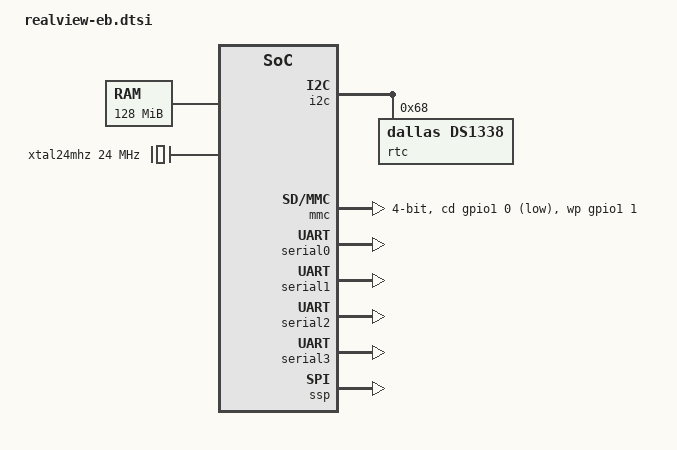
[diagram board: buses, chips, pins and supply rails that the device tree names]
/* SPDX-License-Identifier: GPL-2.0-or-later */

#include <dt-bindings/gpio/gpio.h>

/ {
    #address-cells = <1>;
    #size-cells = <1>;
    compatible = "arm,realview-eb";
    
    chosen { };
    
    memory {
        device_type = "memory";
        reg = <0x00000000 0x08000000>;
    };
    
    clocks {
        xtal24mhz: xtal24mhz@24M {
            #clock-cells = <0>;
            compatible = "fixed-clock";
            clock-frequency = <24000000>;
        };

        timclk: timclk@1M {
            #clock-cells = <0>;
            compatible = "fixed-factor-clock";
            clock-div = <24>;
            clock-mult = <1>;
            clocks = <&xtal24mhz>;
        };

        mclk: mclk@24M {
            #clock-cells = <0>;
            compatible = "fixed-factor-clock";
            clock-div = <1>;
            clock-mult = <1>;
            clocks = <&xtal24mhz>;
        };

        kmiclk: kmiclk@24M {
            #clock-cells = <0>;
            compatible = "fixed-factor-clock";
            clock-div = <1>;
            clock-mult = <1>;
            clocks = <&xtal24mhz>;
        };

        sspclk: sspclk@24M {
            #clock-cells = <0>;
            compatible = "fixed-factor-clock";
            clock-div = <1>;
            clock-mult = <1>;
            clocks = <&xtal24mhz>;
        };

        uartclk: uartclk@24M {
            #clock-cells = <0>;
            compatible = "fixed-factor-clock";
            clock-div = <1>;
            clock-mult = <1>;
            clocks = <&xtal24mhz>;
        };
        
        wdogclk: wdogclk@24M {
            #clock-cells = <0>;
            compatible = "fixed-factor-clock";
            clock-div = <1>;
            clock-mult = <1>;
            clocks = <&xtal24mhz>;
        };
        
        pclk: pclk@0 {
            #clock-cells = <0>;
            compatible = "fixed-clock";
            clock-frequency = <0>;
        };
    };
    
    fpga {
        #address-cells = <1>;
        #size-cells = <1>;
        compatible = "amba-bus";
        dma-ranges;
        ranges;
    
        i2c: i2c@10002000 {
            #address-cells = <1>;
            #size-cells = <0>;
            compatible = "arm,versatile-i2c";
            reg = <0x10002000 0x1000>;

            rtc@68 {
                compatible = "dallas,ds1338";
                reg = <0x68>;
            };
        };

        aaci: aaci@10004000 {
            compatible = "arm,pl041", "arm,primecell";
            reg = <0x10004000 0x1000>;
            clocks = <&pclk>;
            clock-names = "apb_pclk";
        };

        mmc: mmcsd@10005000 {
            compatible = "arm,pl18x", "arm,primecell";
            reg = <0x10005000 0x1000>;
            max-frequency = <500000>;
            bus-width = <4>;
            cap-sd-highspeed;
            cap-mmc-highspeed;
            clocks = <&mclk>, <&pclk>;
            clock-names = "mclk", "apb_pclk";
            cd-gpios = <&gpio1 0 GPIO_ACTIVE_LOW>;
            wp-gpios = <&gpio1 1 GPIO_ACTIVE_HIGH>;
        };

        kmi0: kmi@10006000 {
            compatible = "arm,pl050", "arm,primecell";
            reg = <0x10006000 0x1000>;
            clocks = <&kmiclk>, <&pclk>;
            clock-names = "KMIREFCLK", "apb_pclk";
        };

        kmi1: kmi@10007000 {
            compatible = "arm,pl050", "arm,primecell";
            reg = <0x10007000 0x1000>;
            clocks = <&kmiclk>, <&pclk>;
            clock-names = "KMIREFCLK", "apb_pclk";
        };

        charlcd: fpga_charlcd: charlcd@10008000 {
            compatible = "arm,versatile-lcd";
            reg = <0x10008000 0x1000>;
            clocks = <&pclk>;
            clock-names = "apb_pclk";
        };

        serial0: serial@10009000 {
            compatible = "arm,pl011", "arm,primecell";
            reg = <0x10009000 0x1000>;
            clocks = <&uartclk>, <&pclk>;
            clock-names = "uartclk", "apb_pclk";
        };

        serial1: serial@1000a000 {
            compatible = "arm,pl011", "arm,primecell";
            reg = <0x1000a000 0x1000>;
            clocks = <&uartclk>, <&pclk>;
            clock-names = "uartclk", "apb_pclk";
        };

        serial2: serial@1000b000 {
            compatible = "arm,pl011", "arm,primecell";
            reg = <0x1000b000 0x1000>;
            clocks = <&uartclk>, <&pclk>;
            clock-names = "uartclk", "apb_pclk";
        };

        serial3: serial@1000c000 {
            compatible = "arm,pl011", "arm,primecell";
            reg = <0x1000c000 0x1000>;
            clocks = <&uartclk>, <&pclk>;
            clock-names = "uartclk", "apb_pclk";
        };

        ssp: spi@1000d000 {
            compatible = "arm,pl022", "arm,primecell";
            reg = <0x1000d000 0x1000>;
            clocks = <&sspclk>, <&pclk>;
            clock-names = "SSPCLK", "apb_pclk";
        };

        wdog: watchdog@10010000 {
            compatible = "arm,sp805", "arm,primecell";
            reg = <0x10010000 0x1000>;
            clocks = <&wdogclk>, <&pclk>;
            clock-names = "wdog_clk", "apb_pclk";
            status = "disabled";
        };

        timer01: timer@10011000 {
            compatible = "arm,sp804", "arm,primecell";
            reg = <0x10011000 0x1000>;
            clocks = <&timclk>, <&timclk>, <&pclk>;
            clock-names = "timer1", "timer2", "apb_pclk";
        };

        timer23: timer@10012000 {
            compatible = "arm,sp804", "arm,primecell";
            reg = <0x10012000 0x1000>;
            clocks = <&timclk>, <&timclk>, <&pclk>;
            clock-names = "timer1", "timer2", "apb_pclk";
        };

        gpio0: gpio@10013000 {
            #interrupt-cells = <2>;
            #gpio-cells = <2>;
            compatible = "arm,pl061", "arm,primecell";
            reg = <0x10013000 0x1000>;
            gpio-controller;
            interrupt-controller;
            clocks = <&pclk>;
            clock-names = "apb_pclk";
        };

        gpio1: gpio@10014000 {
            #interrupt-cells = <2>;
            #gpio-cells = <2>;
            compatible = "arm,pl061", "arm,primecell";
            reg = <0x10014000 0x1000>;
            gpio-controller;
            interrupt-controller;
            clocks = <&pclk>;
            clock-names = "apb_pclk";
        };

        gpio2: gpio@10015000 {
            #interrupt-cells = <2>;
            #gpio-cells = <2>;
            compatible = "arm,pl061", "arm,primecell";
            reg = <0x10015000 0x1000>;
            gpio-controller;
            interrupt-controller;
            clocks = <&pclk>;
            clock-names = "apb_pclk";
        };

        rtc: rtc@10017000 {
            compatible = "arm,pl031", "arm,primecell";
            reg = <0x10017000 0x1000>;
            clocks = <&pclk>;
            clock-names = "apb_pclk";
        };
    };
};
